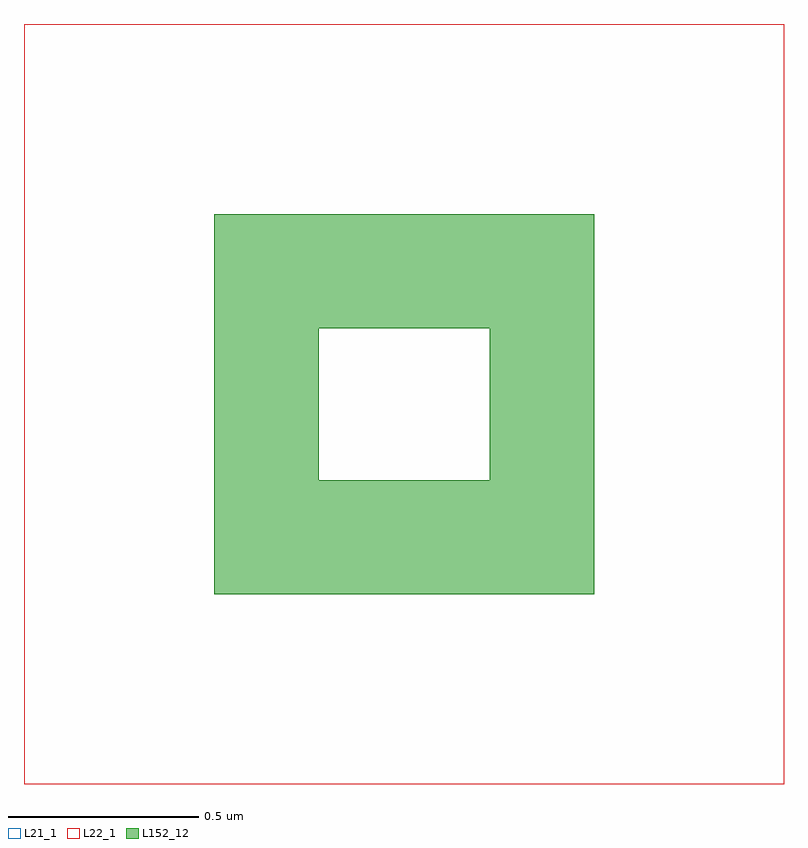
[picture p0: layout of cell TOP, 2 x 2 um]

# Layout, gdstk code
import gdstk
lib = gdstk.Library(unit=1e-6, precision=1e-09)
def R(c, l, rs):  # rectangles x0, y0, x1, y1
    for r in rs: c.add(gdstk.rectangle(r[:2], r[2:], *l))
L21_1 = (21, 1)
L22_1 = (22, 1)
L152_12 = (152, 12)

top = lib.new_cell('TOP')
R(top, L21_1, [(-0.5,-0.5,1.5,1.5)])
R(top, L22_1, [(-0.5,-0.5,1.5,1.5)])
R(top, L152_12, [(0,0,1,0.3), (0,0.3,0.275,0.7), (0.725,0.3,1,0.7), (0,0.7,1,1)])

lib.write_gds('TOP.gds')
